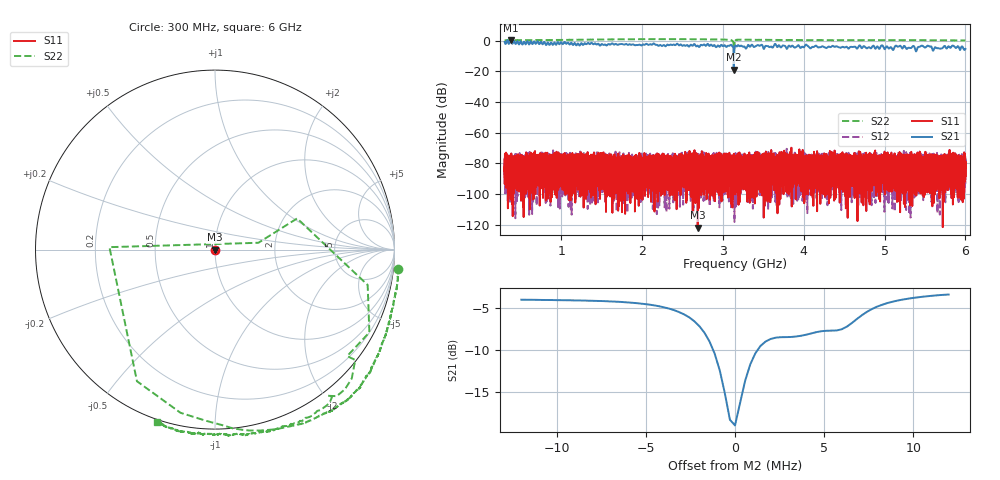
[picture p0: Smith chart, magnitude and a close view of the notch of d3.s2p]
!Agilent Technologies,N5230C,SG49000117,A.08.50.07
!Agilent N5230C: A.08.50.07
!Date: Monday, March 18, 2024 17:59:26
!Correction: S11(Off)
!S21(Off)
!S12(Off)
!S22(Full 1 Port(2))
!S2P File: Measurements: S11, S21, S12, S22:
# Hz S  RI  R 50
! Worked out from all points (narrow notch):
!   20001 points, 300 MHz to 6 GHz, reference 50 ohm
!   highest |S21| = 0.47 dB at 374.7 MHz (marker M1); lowest = -19.0 dB at 3.135 GHz (marker M2)
!   notch at M2: 15.6 dB deep, 2.02 MHz wide at half that depth
!   lowest |S11| = -121.9 dB at 2.689 GHz (marker M3), VSWR 1.00, Z = 50 + j7.88e-05 ohm
!   |S11| at or under -10 dB: start of sweep to end of sweep
!   |S22| runs from -12.2 to 1.0 dB; largest |S21 - S12| = 1.1
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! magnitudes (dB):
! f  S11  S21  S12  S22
! 300 MHz  -78.1  -0.9  -86.4  0.2
! 374.7 MHz  -103.6  0.5  -86.6  0.3
! 1.25 GHz  -85.7  -1.7  -91.3  0.6
! 2.2 GHz  -87.9  -3.4  -89.5  0.9
! 2.689 GHz  -121.9  -3.3  -80.0  0.9
! 3.079 GHz  -84.9  -3.4  -82.0  0.5
! 3.135 GHz  -79.0  -19.0  -83.7  -6.0
! 3.15 GHz  -79.9  -3.1  -85.8  -0.1
! 3.173 GHz  -90.0  -3.9  -77.1  0.2
! 3.204 GHz  -81.7  -3.6  -86.9  0.6
! 3.978 GHz  -82.0  -4.0  -77.0  0.3
! 4.037 GHz  -99.9  -2.9  -84.1  0.3
! 4.1 GHz  -89.6  -4.3  -99.2  0.3
! 5.05 GHz  -92.4  -5.1  -84.6  0.3
! 5.096 GHz  -82.3  -5.6  -82.5  0.3
! 5.168 GHz  -79.9  -4.0  -86.7  0.3
! 5.398 GHz  -77.7  -6.1  -96.5  0.3
! 5.446 GHz  -82.4  -3.7  -86.9  0.3
! 5.55 GHz  -80.7  -3.8  -78.9  0.2
! 5.616 GHz  -79.0  -4.9  -80.3  0.2
! 5.848 GHz  -78.5  -3.3  -86.9  0.2
! 6 GHz  -83.0  -5.5  -78.3  0.1
